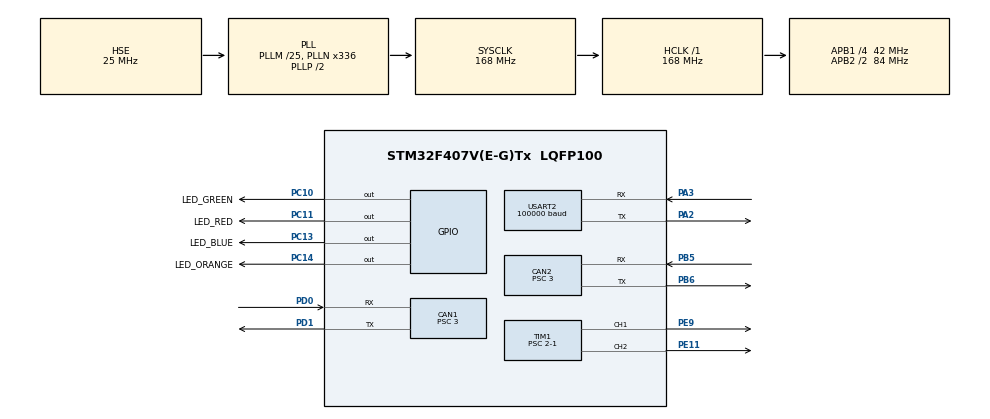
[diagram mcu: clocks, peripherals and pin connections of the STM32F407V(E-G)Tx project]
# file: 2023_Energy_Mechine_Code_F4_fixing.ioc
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CAN1.ABOM=ENABLE
CAN1.BS1=CAN_BS1_9TQ
CAN1.BS2=CAN_BS2_4TQ
CAN1.CalculateBaudRate=1000000
CAN1.CalculateTimeBit=1000
CAN1.CalculateTimeQuantum=71.42857142857143
CAN1.Prescaler=3
CAN1.TXFP=ENABLE
CAN2.ABOM=ENABLE
CAN2.BS1=CAN_BS1_9TQ
CAN2.BS2=CAN_BS2_4TQ
CAN2.CalculateBaudRate=1000000
CAN2.CalculateTimeBit=1000
CAN2.CalculateTimeQuantum=71.42857142857143
CAN2.Prescaler=3
CAN2.TXFP=ENABLE
Dma.Request0=USART2_RX
Dma.Request1=USART2_TX
Dma.Request2=TIM1_CH1
Dma.Request3=TIM1_CH2
Dma.TIM1_CH1.2.Direction=DMA_MEMORY_TO_PERIPH
Dma.TIM1_CH1.2.FIFOMode=DMA_FIFOMODE_DISABLE
Dma.TIM1_CH1.2.Instance=DMA2_Stream1
Dma.TIM1_CH1.2.MemDataAlignment=DMA_MDATAALIGN_HALFWORD
Dma.TIM1_CH1.2.MemInc=DMA_MINC_ENABLE
Dma.TIM1_CH1.2.Mode=DMA_CIRCULAR
Dma.TIM1_CH1.2.PeriphDataAlignment=DMA_PDATAALIGN_HALFWORD
Dma.TIM1_CH1.2.PeriphInc=DMA_PINC_DISABLE
Dma.TIM1_CH1.2.Priority=DMA_PRIORITY_MEDIUM
Dma.TIM1_CH2.3.Direction=DMA_MEMORY_TO_PERIPH
Dma.TIM1_CH2.3.FIFOMode=DMA_FIFOMODE_DISABLE
Dma.TIM1_CH2.3.Instance=DMA2_Stream2
Dma.TIM1_CH2.3.MemDataAlignment=DMA_MDATAALIGN_HALFWORD
Dma.TIM1_CH2.3.MemInc=DMA_MINC_ENABLE
Dma.TIM1_CH2.3.Mode=DMA_CIRCULAR
Dma.TIM1_CH2.3.PeriphDataAlignment=DMA_PDATAALIGN_HALFWORD
Dma.TIM1_CH2.3.PeriphInc=DMA_PINC_DISABLE
Dma.TIM1_CH2.3.Priority=DMA_PRIORITY_LOW
Dma.USART2_RX.0.Direction=DMA_PERIPH_TO_MEMORY
Dma.USART2_RX.0.FIFOMode=DMA_FIFOMODE_DISABLE
Dma.USART2_RX.0.Instance=DMA1_Stream5
Dma.USART2_RX.0.MemDataAlignment=DMA_MDATAALIGN_BYTE
Dma.USART2_RX.0.MemInc=DMA_MINC_ENABLE
Dma.USART2_RX.0.Mode=DMA_CIRCULAR
Dma.USART2_RX.0.PeriphDataAlignment=DMA_PDATAALIGN_BYTE
Dma.USART2_RX.0.PeriphInc=DMA_PINC_DISABLE
Dma.USART2_RX.0.Priority=DMA_PRIORITY_VERY_HIGH
Dma.USART2_TX.1.Direction=DMA_MEMORY_TO_PERIPH
Dma.USART2_TX.1.FIFOMode=DMA_FIFOMODE_DISABLE
Dma.USART2_TX.1.Instance=DMA1_Stream6
Dma.USART2_TX.1.MemDataAlignment=DMA_MDATAALIGN_BYTE
Dma.USART2_TX.1.MemInc=DMA_MINC_ENABLE
Dma.USART2_TX.1.Mode=DMA_NORMAL
Dma.USART2_TX.1.PeriphDataAlignment=DMA_PDATAALIGN_BYTE
Dma.USART2_TX.1.PeriphInc=DMA_PINC_DISABLE
Dma.USART2_TX.1.Priority=DMA_PRIORITY_LOW
Mcu.Family=STM32F4
Mcu.Name=STM32F407V(E-G)Tx
Mcu.Package=LQFP100
NVIC.CAN1_RX0_IRQn=true\:0\:0\:false\:false\:true\:true\:true\:true
NVIC.CAN2_RX0_IRQn=true\:0\:0\:false\:false\:true\:true\:true\:true
NVIC.DMA1_Stream5_IRQn=true\:0\:0\:false\:false\:true\:false\:true\:true
NVIC.DMA1_Stream6_IRQn=true\:0\:0\:false\:false\:true\:false\:true\:true
NVIC.DMA2_Stream1_IRQn=true\:0\:0\:false\:false\:true\:false\:true\:true
NVIC.DMA2_Stream2_IRQn=true\:0\:0\:false\:false\:true\:false\:true\:true
NVIC.PriorityGroup=NVIC_PRIORITYGROUP_4
NVIC.USART2_IRQn=true\:0\:0\:false\:false\:true\:true\:true\:true
PA13.Mode=Serial_Wire
PA13.Signal=SYS_JTMS-SWDIO
PA14.Mode=Serial_Wire
PA14.Signal=SYS_JTCK-SWCLK
PA2.Mode=Asynchronous
PA2.Signal=USART2_TX
PA3.Mode=Asynchronous
PA3.Signal=USART2_RX
PB5.Mode=CAN_Activate
PB5.Signal=CAN2_RX
PB6.Mode=CAN_Activate
PB6.Signal=CAN2_TX
PC10.GPIO_Label=LED_GREEN
PC10.Signal=GPIO_Output
PC11.GPIO_Label=LED_RED
PC11.Signal=GPIO_Output
PC13-ANTI_TAMP.GPIO_Label=LED_BLUE
PC13-ANTI_TAMP.Signal=GPIO_Output
PC14-OSC32_IN.GPIO_Label=LED_ORANGE
PC14-OSC32_IN.Signal=GPIO_Output
PD0.Mode=CAN_Activate
PD0.Signal=CAN1_RX
PD1.Mode=CAN_Activate
PD1.Signal=CAN1_TX
PE11.Signal=S_TIM1_CH2
PE9.Signal=S_TIM1_CH1
PH0-OSC_IN.Mode=HSE-External-Oscillator
PH0-OSC_IN.Signal=RCC_OSC_IN
PH1-OSC_OUT.Mode=HSE-External-Oscillator
PH1-OSC_OUT.Signal=RCC_OSC_OUT
ProjectManager.HeapSize=0x200
ProjectManager.StackSize=0x400
ProjectManager.TargetToolchain=MDK-ARM V5
RCC.48MHZClocksFreq_Value=84000000
RCC.AHBFreq_Value=168000000
RCC.APB1CLKDivider=RCC_HCLK_DIV4
RCC.APB1Freq_Value=42000000
RCC.APB1TimFreq_Value=84000000
RCC.APB2CLKDivider=RCC_HCLK_DIV2
RCC.APB2Freq_Value=84000000
RCC.APB2TimFreq_Value=168000000
RCC.CortexFreq_Value=168000000
RCC.HCLKFreq_Value=168000000
RCC.HSE_VALUE=25000000
RCC.HSI_VALUE=16000000
RCC.LSE_VALUE=32768
RCC.PLLM=25
RCC.PLLN=336
RCC.PLLSourceVirtual=RCC_PLLSOURCE_HSE
RCC.SYSCLKFreq_VALUE=168000000
RCC.SYSCLKSource=RCC_SYSCLKSOURCE_PLLCLK
RCC.VCOOutputFreq_Value=336000000
SH.S_TIM1_CH1.0=TIM1_CH1,PWM Generation1 CH1
SH.S_TIM1_CH2.0=TIM1_CH2,PWM Generation2 CH2
TIM1.Channel-PWM\ Generation1\ CH1=TIM_CHANNEL_1
TIM1.Channel-PWM\ Generation2\ CH2=TIM_CHANNEL_2
TIM1.Period=105
TIM1.Prescaler=2-1
TIM1.Pulse-PWM\ Generation1\ CH1=25
USART2.BaudRate=100000
USART2.VirtualMode=VM_ASYNC
VP_TIM1_VS_ClockSourceINT.Mode=Internal
board=custom

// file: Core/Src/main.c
/* USER CODE BEGIN Header */
/**
  ******************************************************************************
  * @file           : main.c
  * @brief          : Main program body
  ******************************************************************************
  * @attention
  *  2023 RobotPiolts
  *  能量机关大主控代码
  *  作者：zs
	*  邮件：szhangszu@163.com
	*  QQ:   1273890169
  *
  *
  *
  *
  *
  ******************************************************************************
  */
/* USER CODE END Header */
#include "main.h"
#include "can.h"
#include "dma.h"
#include "tim.h"
#include "usart.h"
#include "gpio.h"

/* USER CODE BEGIN Includes */
#include "CAN_receive.h"
#include "can_protocal.h"
#include "uart_drv.h"
#include "rc.h"
#include "motor.h"
#include <math.h>
#include "Flag_State.h"
#include "WS2812.h"
#include <stdlib.h>
#include <time.h>
#include "cmsis_armcc.h"
/* USER CODE END Includes */

/* USER CODE BEGIN PTD */
float motor_speed;
uint8_t  ucSec;
extern float usTms; //毫秒计时
extern float ms_2500; //毫秒计时

/* USER CODE END PTD */

/* USER CODE BEGIN PD */
#define BOARD_NUMBER 0
#define TIME_CNT_CLEAR 255

#define ON  1
#define OFF 0
#define BLUE  1
#define RED 0
#define COLOR (BLUE)

/* USER CODE END PD */

/* USER CODE BEGIN PM */
float speed_rate;
uint8_t color;
uint8_t rand_set;
uint8_t rand_num_0;
uint8_t rand_num_1;
uint8_t rand_num_2;
uint8_t rand_num_3;
uint8_t rand_num_4;
uint8_t motor_control;
uint8_t s2_down_now;
uint8_t s2_down_last;
uint8_t s1_down_now;
uint8_t s1_down_last;
float a_x_1000;
float a_x_1;
float w_x_1000;
float w_x_1;
float b;
int32_t last_time = 0;
int32_t now_time = 0;
char speed1;
char speed2;
float sin_value;
char Manual;
/* USER CODE END PM */

void SystemClock_Config(void);

int main(void)
{

  /* MCU Configuration--------------------------------------------------------*/

  /* Reset of all peripherals, Initializes the Flash interface and the Systick. */
  HAL_Init();

  /* Configure the system clock */
  SystemClock_Config();

  /* Initialize all configured peripherals */
  MX_GPIO_Init();
  MX_DMA_Init();
  MX_CAN1_Init();
  MX_CAN2_Init();
  MX_USART2_UART_Init();
  MX_TIM1_Init();
  /* USER CODE BEGIN 2 */
	CAN1_Init();
	CAN2_Init();
	USART2_Init();
	Init_Rc();
  /* USER CODE END 2 */

  /* Infinite loop */
  /* USER CODE BEGIN WHILE */
	WS_CloseAll_R();
	/*点亮R*/
	WS_Write_R(0,0,255);

	/* 标志位初始化 */
	Board_Order_info_Init(Board_Order_info);
	Big_Fu_info_Init(Big_Fu_info);
	//记录睡眠时间
  uint64_t sleep_time = 0;

	speed_rate = 907;
	color = COLOR;

	/*初始五个随机数生成*/
	rand_num();
	a_x_1000 = rand()%265 + 780;
	a_x_1 = a_x_1000/1000.0f;

	w_x_1000 = rand()%116 + 1884;
	w_x_1 = w_x_1000/1000.0f;

	b = 2.09f - a_x_1;
	last_time = 0;

	/* PID初始化设置 */
	PID_struct_init(&pid_spd[0],12000,5000,20.0f,0.6f,0.0f);

  while (1)
 {
//	      WS_Write_R(0,0,255);
//
//		    Board_Order_info[0].Set_Color = color;
//				Board_Order_info[1].Set_Color = color;
//				Board_Order_info[2].Set_Color = color;
//				Board_Order_info[3].Set_Color = color;
//				Board_Order_info[4].Set_Color = color;
//		    rand_num();
//			/*扇叶做好击打准备*/
//				Board_Order_info[rand_num_0].Board_Work  = ON;

//						if(Big_Fu_info[rand_num_0].Single_Hit_State == OFF)
//						{
//								if((ms_2500 >= 2400 && Big_Fu_info[rand_num_0].Single_Hit_State == OFF)
//									|| (Big_Fu_info[rand_num_1].Single_Hit_State
//									||  Big_Fu_info[rand_num_2].Single_Hit_State
//									||	Big_Fu_info[rand_num_3].Single_Hit_State
//									||	Big_Fu_info[rand_num_4].Single_Hit_State))
//								{
//										Board_Order_info[0].Board_Work = OFF;
//										Board_Order_info[1].Board_Work = OFF;
//										Board_Order_info[2].Board_Work = OFF;
//										Board_Order_info[3].Board_Work = OFF;
//										Board_Order_info[4].Board_Work = OFF;

//										rand_num();
//								}
//						}
//
//				if(Big_Fu_info[rand_num_0].Single_Hit_State == ON)
//				{
//					Board_Order_info[rand_num_1].Board_Work  = ON;
//	   	  }
//				if(Big_Fu_info[rand_num_1].Single_Hit_State == ON)
//				{
//					Board_Order_info[rand_num_2].Board_Work  = ON;
//				}
//				if(Big_Fu_info[rand_num_2].Single_Hit_State == ON)
//				{
//					Board_Order_info[rand_num_3].Board_Work  = ON;
//				}
//				if(Big_Fu_info[rand_num_3].Single_Hit_State == ON)
//				{
//					Board_Order_info[rand_num_4].Board_Work  = ON;

//				}
//
//
//				sin_value = sin(w_x_1*usTms/1000.0f);
//				motor_speed = (a_x_1 * sin_value + b)*speed_rate;
//				pid_calc(&pid_spd[0],  motor_measure[0].speed_rpm, motor_speed);
//				/*CAN发送电流驱动电机*/
//				CAN_cmd_motor( 0, 0,pid_spd[0].pos_out, 0);
//
//				motor_speed = 950;
//				pid_calc(&pid_spd[0],  motor_measure[0].speed_rpm, motor_speed);
//				/*CAN发送电流驱动电机*/
//				CAN_cmd_motor( 0, 0,pid_spd[0].pos_out, 0);
//
//

////    /* USER CODE END WHILE */

////    /* USER CODE BEGIN 3 */
//		/* 遥控器心跳包 */
		rc_sensor_heart_beat(&rc);
//
//		/* 遥控器离线/在线处理 */
		if(RC_OFFLINE)
	  {
      Board_Info_Tx();
			if(HAL_GetTick() - sleep_time < 200)
			{
				RC_ResetData(&rc);
			  pid_spd[0].pos_out = 0;
				Board_Order_info[0].Board_Work = OFF;
				Board_Order_info[1].Board_Work = OFF;
				Board_Order_info[2].Board_Work = OFF;
				Board_Order_info[3].Board_Work = OFF;
				Board_Order_info[4].Board_Work = OFF;
			}
			else if(HAL_GetTick()- sleep_time<500)
			{
				/*底盘电机停转卸力	*/
				CAN_cmd_motor(0,0,0,0);
			}

		}
    /* 大符速度设置 */

				//颜色设置
				Board_Order_info[0].Set_Color = color;
				Board_Order_info[1].Set_Color = color;
				Board_Order_info[2].Set_Color = color;
				Board_Order_info[3].Set_Color = color;
				Board_Order_info[4].Set_Color = color;

	/*扇叶做好击打准备*/
				Board_Order_info[rand_num_0].Board_Work  = ON;
				if(	!CH0_VALUE && !CH1_VALUE)
				{
						if(Big_Fu_info[rand_num_0].Single_Hit_State == OFF)
						{
								if((ms_2500 >= 2400 && Big_Fu_info[rand_num_0].Single_Hit_State == OFF)
									|| (Big_Fu_info[rand_num_1].Single_Hit_State
									||  Big_Fu_info[rand_num_2].Single_Hit_State
									||	Big_Fu_info[rand_num_3].Single_Hit_State
									||	Big_Fu_info[rand_num_4].Single_Hit_State))
								{
										Board_Order_info[0].Board_Work = OFF;
										Board_Order_info[1].Board_Work = OFF;
										Board_Order_info[2].Board_Work = OFF;
										Board_Order_info[3].Board_Work = OFF;
										Board_Order_info[4].Board_Work = OFF;

										rand_num();
								}
						}
					}
				if(Big_Fu_info[rand_num_0].Single_Hit_State == ON)
				{
					Board_Order_info[rand_num_1].Board_Work  = ON;
	   	  }
				if(Big_Fu_info[rand_num_1].Single_Hit_State == ON)
				{
					Board_Order_info[rand_num_2].Board_Work  = ON;
				}
				if(Big_Fu_info[rand_num_2].Single_Hit_State == ON)
				{
					Board_Order_info[rand_num_3].Board_Work  = ON;
				}
				if(Big_Fu_info[rand_num_3].Single_Hit_State == ON)
				{
					Board_Order_info[rand_num_4].Board_Work  = ON;

				}

	if(RC_ONLINE)
	{
			HAL_TIM_PWM_Stop_DMA(&htim1, TIM_CHANNEL_1);
			s2_down_now = rc.info->s2;
			if(s2_down_last != s2_down_now && rc.info->s2 == 2)
			{
				motor_control =! motor_control;
			}
			s2_down_last = s2_down_now;

			if(motor_control == 0)
			{
				pid_spd[0].pos_out = 0;
				CAN_cmd_motor(0,0,0,0);
			}

			if(CH0_VALUE <= -600 && CH1_VALUE >= 600)
			{
				speed1 = 1;
				speed2 = 0;
			}
			if(CH2_VALUE >= 600 && CH3_VALUE >= 600)
			{
				speed1 = 0;
				speed2 = 1;
			}

				if(CH0_VALUE <= -600  && CH1_VALUE >= 600 && CH2_VALUE>= 600 && CH3_VALUE >= 600)
			{
				 __set_FAULTMASK(1); //关闭所有中断
				NVIC_SystemReset(); //进行软件复位
			}

			/*电机旋转速度*/
				if(speed1==1)
			{
        sin_value = sin(w_x_1*usTms/1000.0f);
				motor_speed = (a_x_1 * sin_value + b)*speed_rate;
			}
			if(speed2==1)
			{
				motor_speed = 950;
			}
			if(motor_control == 1)
			{
				pid_calc(&pid_spd[0],  motor_measure[0].speed_rpm, motor_speed);

				/*CAN发送电流驱动电机*/
				CAN_cmd_motor( 0, 0,pid_spd[0].pos_out, 0);
			}

			if(SW2_MID)
			{
				color = BLUE;
        WS_Write_R(0,0,150);
			}

			if(SW2_UP)
			{
				color = RED;
        WS_Write_R(150,0,0);
			}

			if(SW1_UP && !CH2_VALUE && !CH3_VALUE)
			{
					Board_Order_info[0].Board_Work = OFF;
					Board_Order_info[1].Board_Work = OFF;
					Board_Order_info[2].Board_Work = OFF;
					Board_Order_info[3].Board_Work = OFF;
					Board_Order_info[4].Board_Work = OFF;
				  Manual = 0;
			}

			if(CH0_VALUE >= 600  && CH1_VALUE <= -600 )
			{
				Board_Order_info[0].Board_Work = OFF;
				Board_Order_info[1].Board_Work = OFF;
				Board_Order_info[2].Board_Work = OFF;
				Board_Order_info[3].Board_Work = OFF;
				Board_Order_info[4].Board_Work = OFF;

				Board_Order_info[0].RainBow_Flag = 1;
				Board_Order_info[1].RainBow_Flag = 1;
				Board_Order_info[2].RainBow_Flag = 1;
				Board_Order_info[3].RainBow_Flag = 1;
				Board_Order_info[4].RainBow_Flag = 1;
			}
			if(CH2_VALUE <= -600  && CH3_VALUE <= -600 )
			{
				Board_Order_info[0].RainBow_Flag = 0;
				Board_Order_info[1].RainBow_Flag = 0;
				Board_Order_info[2].RainBow_Flag = 0;
				Board_Order_info[3].RainBow_Flag = 0;
				Board_Order_info[4].RainBow_Flag = 0;

				Board_Order_info[0].Board_Work = OFF;
				Board_Order_info[1].Board_Work = OFF;
				Board_Order_info[2].Board_Work = OFF;
				Board_Order_info[3].Board_Work = OFF;
				Board_Order_info[4].Board_Work = OFF;
			}

			if(SW1_DOWN && !CH0_VALUE && !CH1_VALUE)
			{
				  	rand_num();
						a_x_1000 = rand()%265 + 780;
						a_x_1 = a_x_1000/1000.0f;

						w_x_1000 = rand()%116 + 1884;
						w_x_1 = w_x_1000/1000.0f;

					  b = 2.09f - a_x_1;
			}
	}
		Board_Info_Tx();
		HAL_Delay(100);
	}
}

void rand_num(void)
{
	rand_num_0 = rand()%5;
	rand_num_1 = rand()%5;
	while(rand_num_1 == rand_num_0)
	{
		rand_num_1 = rand()%5;
	}
	rand_num_2 = rand()%5;
	while(rand_num_2 == rand_num_0 || rand_num_2 == rand_num_1)
	{
		rand_num_2 = rand()%5;
	}
	rand_num_3 = rand()%5;
	while(rand_num_3 == rand_num_0 || rand_num_3 == rand_num_1 || rand_num_3 == rand_num_2)
	{
		rand_num_3 = rand()%5;
	}
		rand_num_4 = rand()%5;
	while(rand_num_4 == rand_num_0 || rand_num_4 == rand_num_1 || rand_num_4 == rand_num_2 || rand_num_4 == rand_num_3 )
	{
		rand_num_4 = rand()%5;
	}
}
/* USER CODE END 3 */
void SystemClock_Config(void)
{
  RCC_OscInitTypeDef RCC_OscInitStruct = {0};
  RCC_ClkInitTypeDef RCC_ClkInitStruct = {0};

  /** Configure the main internal regulator output voltage
  */
  __HAL_RCC_PWR_CLK_ENABLE();
  __HAL_PWR_VOLTAGESCALING_CONFIG(PWR_REGULATOR_VOLTAGE_SCALE1);

  /** Initializes the RCC Oscillators according to the specified parameters
  * in the RCC_OscInitTypeDef structure.
  */
  RCC_OscInitStruct.OscillatorType = RCC_OSCILLATORTYPE_HSE;
  RCC_OscInitStruct.HSEState = RCC_HSE_ON;
  RCC_OscInitStruct.PLL.PLLState = RCC_PLL_ON;
  RCC_OscInitStruct.PLL.PLLSource = RCC_PLLSOURCE_HSE;
  RCC_OscInitStruct.PLL.PLLM = 25;
  RCC_OscInitStruct.PLL.PLLN = 336;
  RCC_OscInitStruct.PLL.PLLP = RCC_PLLP_DIV2;
  RCC_OscInitStruct.PLL.PLLQ = 4;
  if (HAL_RCC_OscConfig(&RCC_OscInitStruct) != HAL_OK)
  {
    Error_Handler();
  }

  /** Initializes the CPU, AHB and APB buses clocks
  */
  RCC_ClkInitStruct.ClockType = RCC_CLOCKTYPE_HCLK|RCC_CLOCKTYPE_SYSCLK
                              |RCC_CLOCKTYPE_PCLK1|RCC_CLOCKTYPE_PCLK2;
  RCC_ClkInitStruct.SYSCLKSource = RCC_SYSCLKSOURCE_PLLCLK;
  RCC_ClkInitStruct.AHBCLKDivider = RCC_SYSCLK_DIV1;
  RCC_ClkInitStruct.APB1CLKDivider = RCC_HCLK_DIV4;
  RCC_ClkInitStruct.APB2CLKDivider = RCC_HCLK_DIV2;

  if (HAL_RCC_ClockConfig(&RCC_ClkInitStruct, FLASH_LATENCY_5) != HAL_OK)
  {
    Error_Handler();
  }
}

void Error_Handler(void)
{
  __disable_irq();
  while (1)
  {
  }
}
